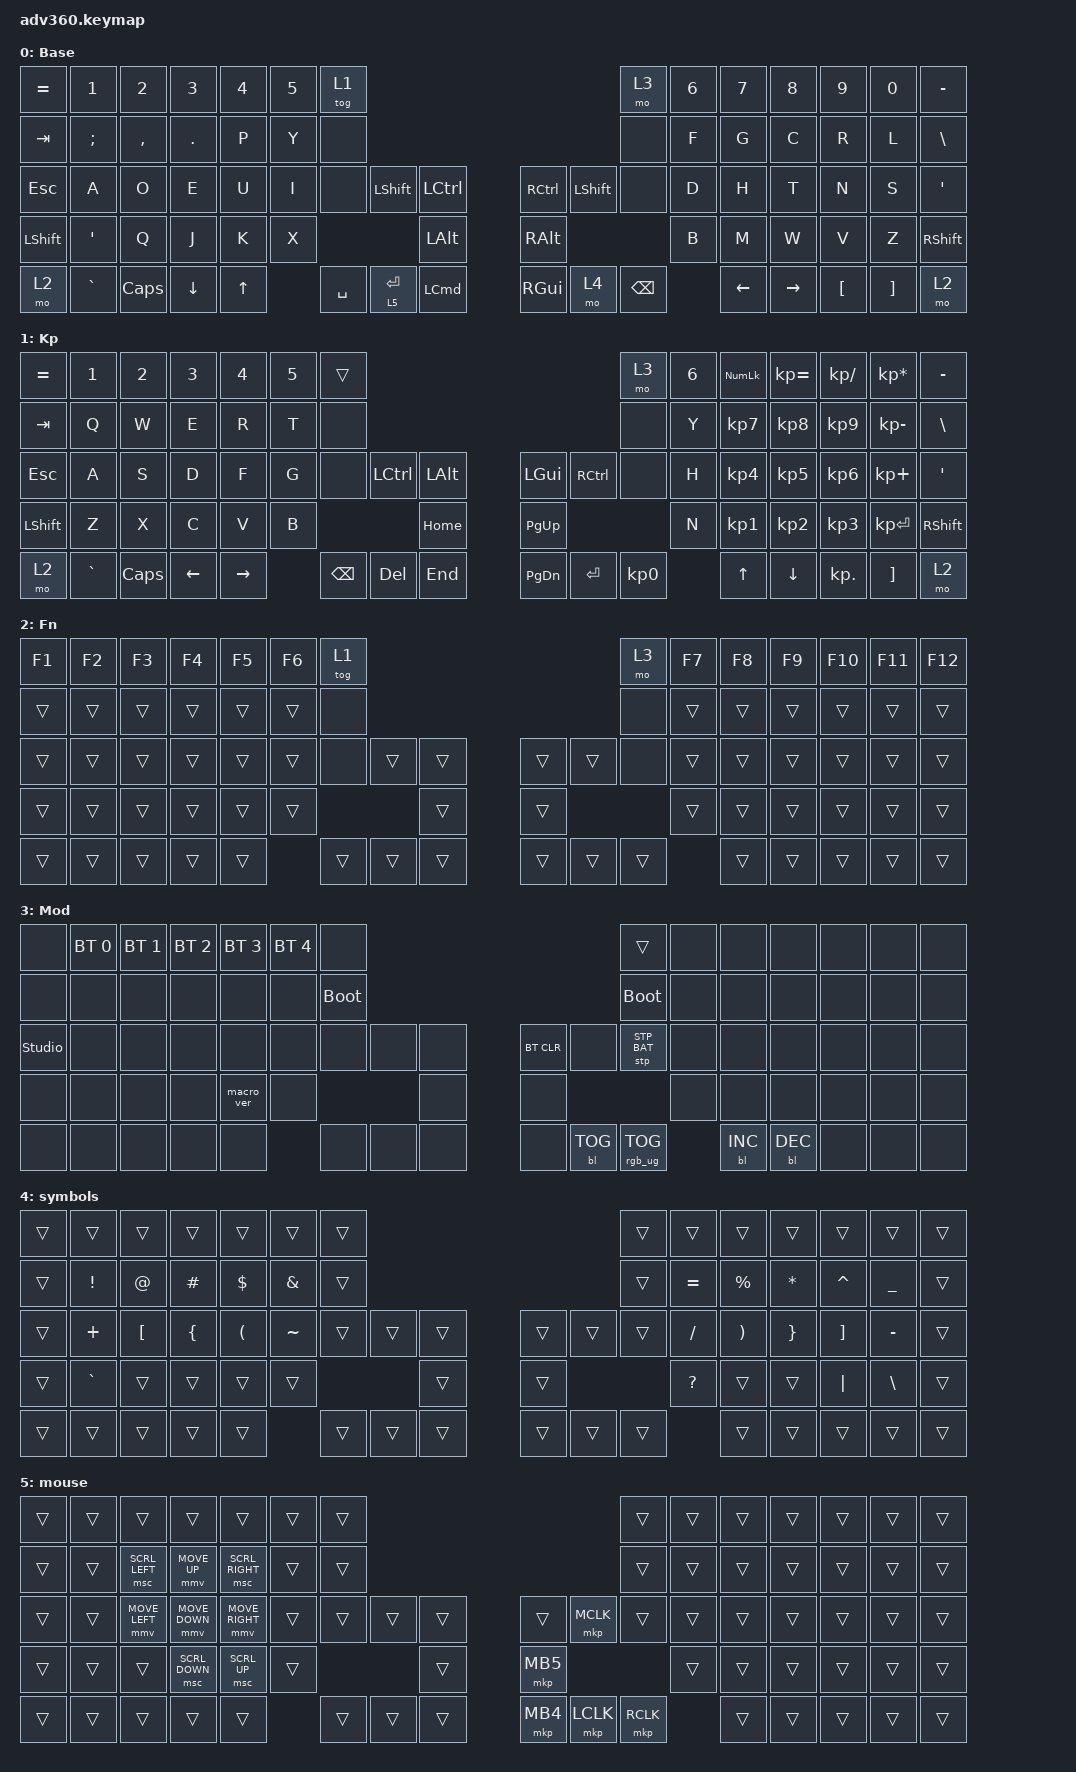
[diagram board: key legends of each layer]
#include <dt-bindings/zmk/stp.h>
#include <behaviors.dtsi>
#include <dt-bindings/zmk/backlight.h>
#include <dt-bindings/zmk/bt.h>
#include <dt-bindings/zmk/keys.h>
#include <dt-bindings/zmk/pointing.h>
#include <dt-bindings/zmk/rgb.h>

/ {
    behaviors {
        #include "macros.dtsi"
      #include "version.dtsi"

        hm: homerow_mods {
            compatible = "zmk,behavior-hold-tap";
            label = "HOMEROW_MODS";
            #binding-cells = <2>;
            tapping-term-ms = <200>;
            quick_tap_ms = <175>;
            flavor = "tap-preferred";
            bindings = <&kp>, <&kp>;
        };
    };

    keymap {
        compatible = "zmk,keymap";

        default_layer {
            display-name = "Base";
            bindings = <
&kp EQUAL  &kp N1         &kp N2     &kp N3      &kp N4        &kp N5  &tog 1                                                                              &mo 3          &kp N6  &kp N7    &kp N8     &kp N9    &kp N0    &kp MINUS
&kp TAB    &kp SEMICOLON  &kp COMMA  &kp PERIOD  &kp P         &kp Y   &none                                                                               &none          &kp F   &kp G     &kp C      &kp R     &kp L     &kp BSLH
&kp ESC    &kp A          &kp O      &kp E       &kp U         &kp I   &none      &kp LEFT_SHIFT  &kp LEFT_CONTROL      &kp RIGHT_CONTROL  &kp LEFT_SHIFT  &none          &kp D   &kp H     &kp T      &kp N     &kp S     &kp SQT
&kp LSHFT  &kp SQT        &kp Q      &kp J       &kp K         &kp X                              &kp LEFT_ALT          &kp RALT                                          &kp B   &kp M     &kp W      &kp V     &kp Z     &kp RSHFT
&mo 2      &kp GRAVE      &kp CAPS   &kp DOWN    &kp UP_ARROW          &kp SPACE  &lt 5 ENTER     &kp LEFT_COMMAND      &kp RGUI           &mo 4           &kp BACKSPACE          &kp LEFT  &kp RIGHT  &kp LBKT  &kp RBKT  &mo 2
            >;
        };

        keypad {
            display-name = "Kp";
            bindings = <
&kp EQUAL  &kp N1     &kp N2    &kp N3    &kp N4     &kp N5  &trans                                                   &mo 3      &kp N6  &kp KP_NUM  &kp KP_EQUAL  &kp KP_DIVIDE  &kp KP_MULTIPLY  &kp MINUS
&kp TAB    &kp Q      &kp W     &kp E     &kp R      &kp T   &none                                                    &none      &kp Y   &kp KP_N7   &kp KP_N8     &kp KP_N9      &kp KP_MINUS     &kp BSLH
&kp ESC    &kp A      &kp S     &kp D     &kp F      &kp G   &none     &kp LCTRL  &kp LALT      &kp LGUI   &kp RCTRL  &none      &kp H   &kp KP_N4   &kp KP_N5     &kp KP_N6      &kp KP_PLUS      &kp SQT
&kp LSHFT  &kp Z      &kp X     &kp C     &kp V      &kp B                        &kp HOME      &kp PG_UP                        &kp N   &kp KP_N1   &kp KP_N2     &kp KP_N3      &kp KP_ENTER     &kp RSHFT
&mo 2      &kp GRAVE  &kp CAPS  &kp LEFT  &kp RIGHT          &kp BSPC  &kp DEL    &kp END       &kp PG_DN  &kp ENTER  &kp KP_N0          &kp UP      &kp DOWN      &kp KP_DOT     &kp RBKT         &mo 2
            >;
        };

        fn {
            display-name = "Fn";
            bindings = <
&kp F1  &kp F2  &kp F3  &kp F4  &kp F5  &kp F6  &tog 1                                      &mo 3   &kp F7  &kp F8  &kp F9  &kp F10  &kp F11  &kp F12
&trans  &trans  &trans  &trans  &trans  &trans  &none                                       &none   &trans  &trans  &trans  &trans   &trans   &trans
&trans  &trans  &trans  &trans  &trans  &trans  &none   &trans  &trans      &trans  &trans  &none   &trans  &trans  &trans  &trans   &trans   &trans
&trans  &trans  &trans  &trans  &trans  &trans                  &trans      &trans                  &trans  &trans  &trans  &trans   &trans   &trans
&trans  &trans  &trans  &trans  &trans          &trans  &trans  &trans      &trans  &trans  &trans          &trans  &trans  &trans   &trans   &trans
            >;
        };

        mod {
            display-name = "Mod";
            bindings = <
&none           &bt BT_SEL 0  &bt BT_SEL 1  &bt BT_SEL 2  &bt BT_SEL 3  &bt BT_SEL 4  &none                                                  &trans           &none  &none       &none       &none  &none  &none
&none           &none         &none         &none         &none         &none         &bootloader                                            &bootloader      &none  &none       &none       &none  &none  &none
&studio_unlock  &none         &none         &none         &none         &none         &none        &none  &none      &bt BT_CLR  &none       &stp STP_BAT     &none  &none       &none       &none  &none  &none
&none           &none         &none         &none         &macro_ver    &none                             &none      &none                                    &none  &none       &none       &none  &none  &none
&none           &none         &none         &none         &none                       &none        &none  &none      &none       &bl BL_TOG  &rgb_ug RGB_TOG         &bl BL_INC  &bl BL_DEC  &none  &none  &none
            >;
        };

        symbols {
            bindings = <
&trans  &trans     &trans       &trans          &trans                &trans         &trans                                      &trans  &trans        &trans                 &trans           &trans     &trans     &trans
&trans  &kp EXCL   &kp AT_SIGN  &kp POUND       &kp DOLLAR            &kp AMPERSAND  &trans                                      &trans  &kp EQUAL     &kp PERCENT            &kp ASTRK        &kp CARET  &kp UNDER  &trans
&trans  &kp PLUS   &kp LBKT     &kp LEFT_BRACE  &kp LEFT_PARENTHESIS  &kp TILDE      &trans  &trans  &trans      &trans  &trans  &trans  &kp FSLH      &kp RIGHT_PARENTHESIS  &kp RIGHT_BRACE  &kp RBKT   &kp MINUS  &trans
&trans  &kp GRAVE  &trans       &trans          &trans                &trans                         &trans      &trans                  &kp QUESTION  &trans                 &trans           &kp PIPE   &kp BSLH   &trans
&trans  &trans     &trans       &trans          &trans                               &trans  &trans  &trans      &trans  &trans  &trans                &trans                 &trans           &trans     &trans     &trans
            >;
        };

        mouse {
            bindings = <
&trans  &trans  &trans          &trans          &trans           &trans  &trans                                           &trans     &trans  &trans  &trans  &trans  &trans  &trans
&trans  &trans  &msc SCRL_LEFT  &mmv MOVE_UP    &msc SCRL_RIGHT  &trans  &trans                                           &trans     &trans  &trans  &trans  &trans  &trans  &trans
&trans  &trans  &mmv MOVE_LEFT  &mmv MOVE_DOWN  &mmv MOVE_RIGHT  &trans  &trans  &trans  &trans      &trans    &mkp MCLK  &trans     &trans  &trans  &trans  &trans  &trans  &trans
&trans  &trans  &trans          &msc SCRL_DOWN  &msc SCRL_UP     &trans                  &trans      &mkp MB5                        &trans  &trans  &trans  &trans  &trans  &trans
&trans  &trans  &trans          &trans          &trans                   &trans  &trans  &trans      &mkp MB4  &mkp LCLK  &mkp RCLK          &trans  &trans  &trans  &trans  &trans
            >;
        };
    };
};
